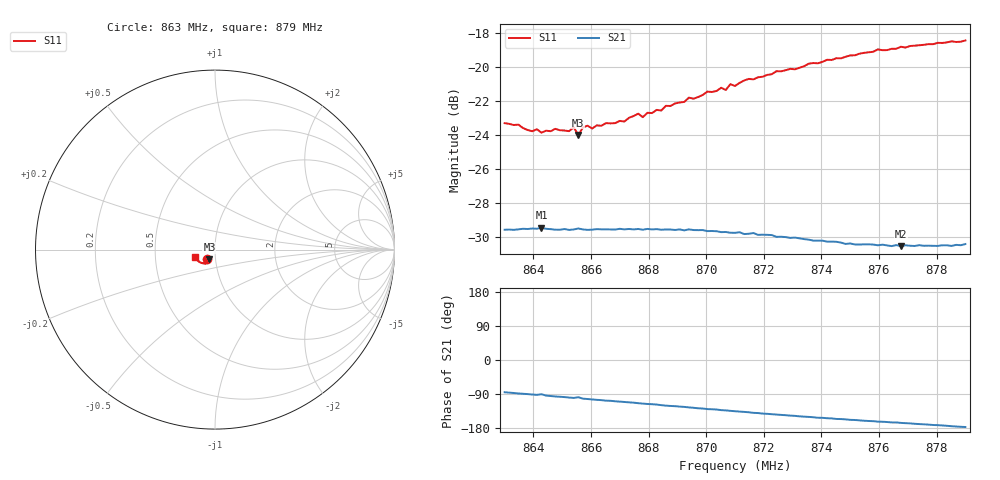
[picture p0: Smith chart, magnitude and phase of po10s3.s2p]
# HZ S RI R 50
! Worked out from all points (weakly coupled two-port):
!   101 points, 863 MHz to 879 MHz, reference 50 ohm
!   highest |S21| = -29.43 dB at 864.28 MHz (marker M1); lowest = -30.5 dB at 876.76 MHz (marker M2)
!   lowest |S11| = -24.0 dB at 865.56 MHz (marker M3), VSWR 1.13, Z = 46.7 - j5.13 ohm
!   |S11| at or under -10 dB: start of sweep to end of sweep
!   S12 and S22 are empty: the file has one direction only
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8.63e8  -0.0428 -0.0533  0.00283 -0.0332  0 0  0 0
8.6428e8  -0.0334 -0.0548  -0.000172 -0.0338  0 0  0 0
8.6476e8  -0.0368 -0.0545  -0.00362 -0.0331  0 0  0 0
8.6524e8  -0.0339 -0.0551  -0.00526 -0.0329  0 0  0 0
8.654e8  -0.0343 -0.0569  -0.00583 -0.0329  0 0  0 0
8.6556e8  -0.0313 -0.0548  -0.00484 -0.0332  0 0  0 0
8.6572e8  -0.0336 -0.0572  -0.00696 -0.0327  0 0  0 0
8.6604e8  -0.032 -0.0576  -0.0081 -0.0323  0 0  0 0
8.6716e8  -0.0319 -0.0613  -0.0118 -0.0312  0 0  0 0
8.6764e8  -0.034 -0.0645  -0.0136 -0.0306  0 0  0 0
8.678e8  -0.0333 -0.0629  -0.0141 -0.0302  0 0  0 0
8.6844e8  -0.0338 -0.0663  -0.0162 -0.0291  0 0  0 0
8.694e8  -0.0387 -0.0714  -0.0192 -0.0273  0 0  0 0
8.7052e8  -0.0446 -0.0745  -0.022 -0.0243  0 0  0 0
8.7068e8  -0.0435 -0.0736  -0.0224 -0.024  0 0  0 0
8.7084e8  -0.048 -0.0749  -0.0228 -0.0234  0 0  0 0
8.71e8  -0.0464 -0.0746  -0.0231 -0.023  0 0  0 0
8.7148e8  -0.0508 -0.0769  -0.0241 -0.0217  0 0  0 0
8.7372e8  -0.0681 -0.0767  -0.0271 -0.015  0 0  0 0
8.7644e8  -0.0934 -0.0633  -0.0288 -0.00784  0 0  0 0
8.7676e8  -0.0966 -0.0614  -0.0289 -0.00722  0 0  0 0
8.79e8  -0.1124 -0.0404  -0.0302 -0.00168  0 0  0 0
